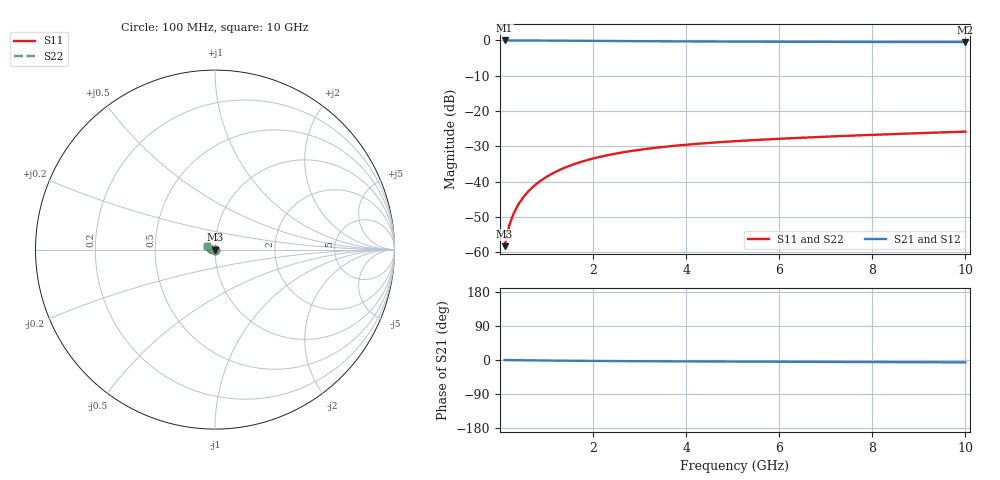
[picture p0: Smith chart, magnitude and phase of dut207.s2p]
! Touchstone file exported from HFSS 2024.1.0
!  File:  C:/UserFiles/LocalFiles/RDL_TSV_Batchsim/temp_TSV1_207_1779386390.aedt
!  Generated:  02:05:29 AM May 22, 2026
!  Design:  TSV1
!  Project:  temp_TSV1_207_1779386390
!  Setup:  Setup1
!  Solution:  Sweep
! Variables:
!  dtsv = 8.99um
!  hbump = 3um
!  htsv = 96.61um
!  lrdl = 252.1521522um
!  p = 40
!  p1 = 58.68um
!  t = 500um
!  trdl = 3um
!  wrdl = 24.89489489um
# GHz S MA R 50.000000
! Terminal data exported
! Port[1] = TSV22_T1
! Port[2] = TSV22_T2
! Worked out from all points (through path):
!   100 points, 100 MHz to 10 GHz, reference 50 ohm
!   highest |S21| = 0.00 dB at 100 MHz (marker M1); lowest = -0.5 dB at 10 GHz (marker M2)
!   lowest |S11| = -58.3 dB at 100 MHz (marker M3), VSWR 1.00, Z = 50 - j0.121 ohm
!   |S11| at or under -10 dB: start of sweep to end of sweep
!   |S22| runs from -58.3 to -25.8 dB; largest |S21 - S12| = 8e-15
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0.1  0.001217 -82.6  0.9997 -0.1  0.9997 -0.1  0.001217 -82.6
! Gamma 0 0 0 0
! Port Impedance 50 0 50 0
0.2  0.002411 -89.3  0.9996 -0.3  0.9996 -0.3  0.002411 -89.3
0.3  0.00361 -93.0  0.9994 -0.4  0.9994 -0.4  0.00361 -93.0
0.4  0.004804 -95.9  0.999 -0.6  0.999 -0.6  0.004804 -95.9
0.5  0.005988 -98.5  0.9986 -0.7  0.9986 -0.7  0.005988 -98.5
0.6  0.00716 -100.9  0.9981 -0.9  0.9981 -0.9  0.00716 -100.9
0.7  0.008316 -103.2  0.9976 -1.0  0.9976 -1.0  0.008316 -103.2
0.8  0.009454 -105.5  0.997 -1.1  0.997 -1.1  0.009454 -105.5
0.9  0.01057 -107.7  0.9963 -1.2  0.9963 -1.2  0.01057 -107.7
1.1  0.01274 -111.9  0.9947 -1.5  0.9947 -1.5  0.01274 -111.9
1.4  0.01581 -117.9  0.9921 -1.8  0.9921 -1.8  0.01581 -117.9
1.6  0.01773 -121.7  0.9902 -2.1  0.9902 -2.1  0.01773 -121.7
1.8  0.01953 -125.4  0.9882 -2.3  0.9882 -2.3  0.01953 -125.4
2.1  0.02204 -130.7  0.9852 -2.5  0.9852 -2.5  0.02204 -130.7
2.5  0.02502 -137.2  0.9812 -2.8  0.9812 -2.8  0.02502 -137.2
2.9  0.02762 -143.2  0.9774 -3.1  0.9774 -3.1  0.02762 -143.2
3.4  0.03044 -150.0  0.973 -3.4  0.973 -3.4  0.03044 -150.0
4.2  0.03415 -159.6  0.9672 -3.8  0.9672 -3.8  0.03415 -159.6
5.1  0.03754 -168.8  0.962 -4.2  0.962 -4.2  0.03754 -168.8
6.7  0.04245 177.8  0.9556 -4.9  0.9556 -4.9  0.04244 177.8
8.4  0.04699 166.4  0.9512 -5.6  0.9512 -5.6  0.04699 166.4
10  0.05109 157.5  0.9483 -6.3  0.9483 -6.3  0.05109 157.5
